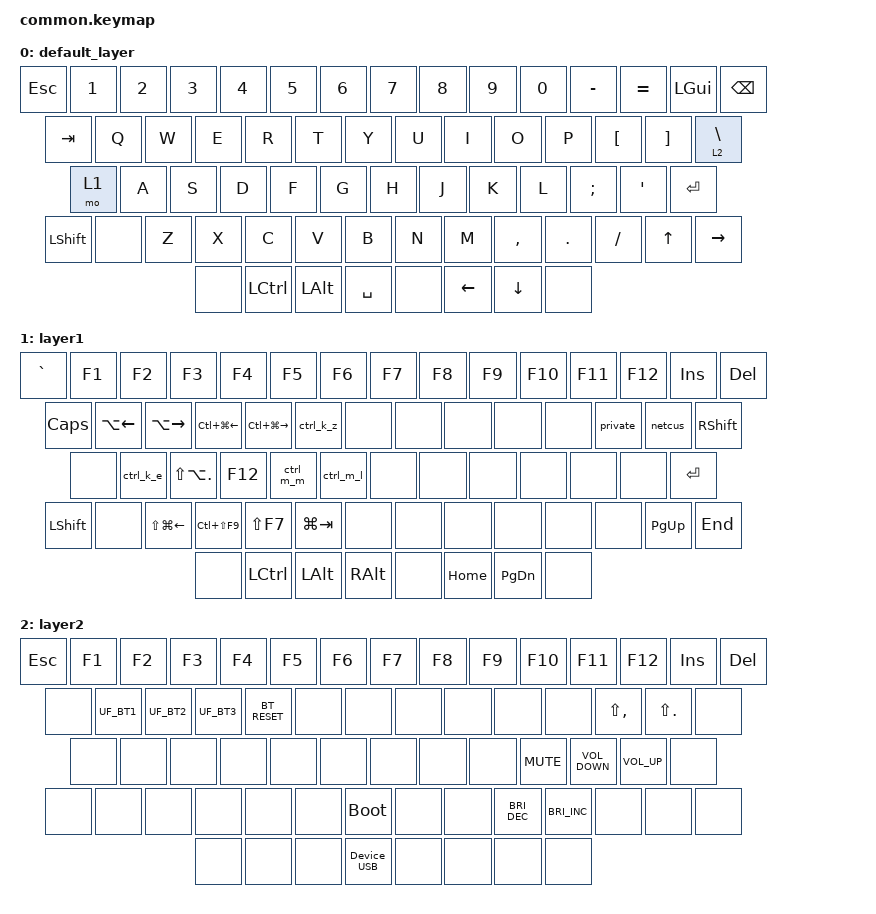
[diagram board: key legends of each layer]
#include "common.keymap"

#define UF_RESET bootloader_reset 0 0
#define UF_BT1 device_bt1 0 0
#define UF_BT2 device_bt2 0 1
#define UF_BT3 device_bt3 0 2
#define BT_RESET bt_clear_all 0 3

/ {
    keymap {
        compatible = "zmk,keymap";
        
        default_layer {
            bindings = <
    &kp ESC &kp N1 &kp N2 &kp N3 &kp N4 &kp N5 &kp N6 &kp N7 &kp N8 &kp N9 &kp N0 &kp MINUS &kp EQUAL &kp LGUI &kp BSPC
    &kp TAB    &kp Q  &kp W  &kp E  &kp R  &kp T  &kp Y  &kp U  &kp I  &kp O  &kp P  &kp LBKT  &kp RBKT  &lt_hp 2 BSLH
    &mo 1    &kp A  &kp S  &kp D  &kp F  &kp G  &kp H  &kp J  &kp K  &kp L  &kp SEMI &kp SQT        &kp RET
    &kp LSHFT &none &kp Z  &kp X  &kp C  &kp V  &kp B  &kp N  &kp M  &kp COMMA &kp DOT &kp FSLH      &kp UP  &kp RIGHT
    &none &kp LCTRL &kp LALT             &kp SPACE                       &none  &kp LEFT  &kp DOWN &none
            >;
        };

        layer1 {
            bindings = <
    &kp GRAVE  &kp F1    &kp F2    &kp F3  &kp F4   &kp F5  &kp F6  &kp F7  &kp F8   &kp F9   &kp F10  &kp F11 &kp F12  &kp INS  &kp DELETE
    &kp CAPS &kp LA(LEFT)    &kp LA(RIGHT)    &kp LC(LG(LEFT))  &kp LC(LG(RIGHT))   &ctrl_k_z  &none  &none  &none  &none  &none  &private  &netcus  &kp RSHIFT 
    &none   &ctrl_k_e  &kp LS(LA(DOT))  &kp F12  &ctrl_m_m  &ctrl_m_l  &none  &none  &none  &none  &none  &none   &kp RET 
    &kp LSHFT &none  &kp LS(LG(LEFT))    &kp LC(LS(F9))    &kp LS(F7)  &kp LG(TAB) &none  &none  &none  &none  &none   &none   &kp PAGE_UP  &kp END
    &none  &kp LCTRL   &kp LALT                            &kp RALT                                   &none    &kp HOME      &kp PAGE_DOWN   &none
            >;
        };

        layer2 {
            bindings = <
    &kp ESC  &kp F1    &kp F2    &kp F3  &kp F4   &kp F5  &kp F6  &kp F7  &kp F8   &kp F9   &kp F10  &kp F11 &kp F12  &kp INS  &kp DELETE
    &none &UF_BT1    &UF_BT2    &UF_BT3  &BT_RESET   &none  &none  &none  &none  &none  &none  &kp LS(COMMA)  &kp LS(DOT)  &none 
    &none   &none  &none  &none  &none  &none  &none  &none  &none  &kp C_MUTE  &kp C_VOLUME_DOWN     &kp C_VOL_UP &none 
    &none &none  &none    &none    &none  &none &bootloader  &none  &none  &kp C_BRIGHTNESS_DEC  &kp C_BRIGHTNESS_INC   &none   &none &none
    &none  &none   &none                            &Device_USB                                   &none    &none     &none   &none
            >;
        };

        layer3 { status = "reserved"; };
        layer4 { status = "reserved"; };
        layer5 { status = "reserved"; };
        layer6 { status = "reserved"; };
        layer7 { status = "reserved"; };
    };
};
